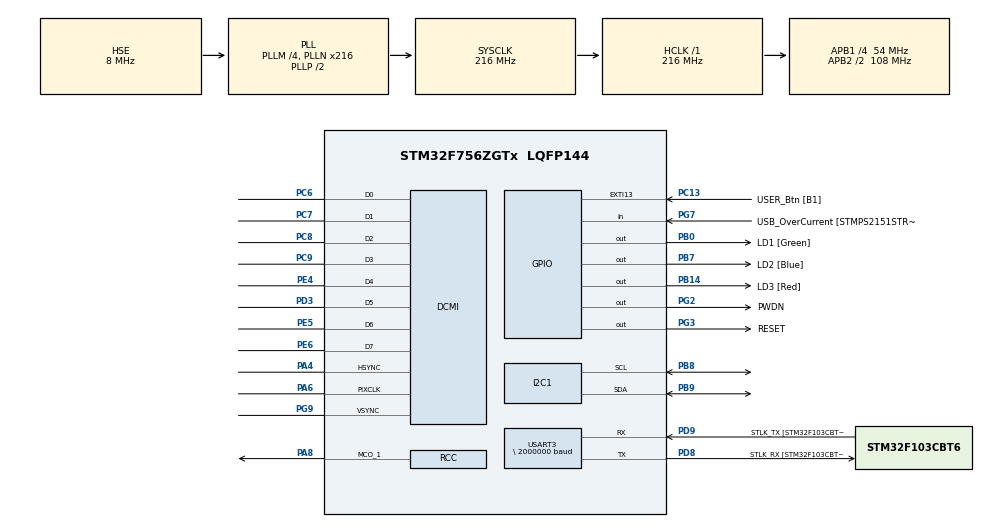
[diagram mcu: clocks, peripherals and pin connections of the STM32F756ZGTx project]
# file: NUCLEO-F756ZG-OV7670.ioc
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CORTEX_M7.default_mode_Activation=1
DCMI.HSPolarity=DCMI_HSPOLARITY_LOW
DCMI.JPEGMode=DCMI_JPEG_DISABLE
DCMI.PCKPolarity=DCMI_PCKPOLARITY_RISING
DCMI.VSPolarity=DCMI_VSPOLARITY_HIGH
Dma.DCMI.0.Direction=DMA_PERIPH_TO_MEMORY
Dma.DCMI.0.FIFOMode=DMA_FIFOMODE_ENABLE
Dma.DCMI.0.FIFOThreshold=DMA_FIFO_THRESHOLD_FULL
Dma.DCMI.0.Instance=DMA2_Stream1
Dma.DCMI.0.MemBurst=DMA_MBURST_SINGLE
Dma.DCMI.0.MemDataAlignment=DMA_MDATAALIGN_WORD
Dma.DCMI.0.MemInc=DMA_MINC_ENABLE
Dma.DCMI.0.Mode=DMA_NORMAL
Dma.DCMI.0.PeriphBurst=DMA_PBURST_SINGLE
Dma.DCMI.0.PeriphDataAlignment=DMA_PDATAALIGN_WORD
Dma.DCMI.0.PeriphInc=DMA_PINC_DISABLE
Dma.DCMI.0.Priority=DMA_PRIORITY_VERY_HIGH
Dma.Request0=DCMI
I2C1.Timing=0x20404768
Mcu.Family=STM32F7
Mcu.Name=STM32F756ZGTx
Mcu.Package=LQFP144
NVIC.DCMI_IRQn=true\:0\:0\:false\:false\:true\:true\:true\:true
NVIC.DMA2_Stream1_IRQn=true\:0\:0\:false\:false\:true\:false\:true\:true
NVIC.PriorityGroup=NVIC_PRIORITYGROUP_4
PA1.GPIO_Label=RMII_REF_CLK [LAN8742A-CZ-TR_REFCLK0]
PA1.Signal=ETH_REF_CLK
PA13.GPIO_Label=TMS
PA13.Mode=Serial_Wire
PA13.Signal=SYS_JTMS-SWDIO
PA14.GPIO_Label=TCK
PA14.Mode=Serial_Wire
PA14.Signal=SYS_JTCK-SWCLK
PA2.GPIO_Label=RMII_MDIO [LAN8742A-CZ-TR_MDIO]
PA2.Signal=ETH_MDIO
PA4.GPIO_PuPd=GPIO_NOPULL
PA4.GPIO_Speed=GPIO_SPEED_FREQ_VERY_HIGH
PA4.Mode=Slave_8_bits_External_Synchro
PA4.Signal=DCMI_HSYNC
PA6.GPIO_PuPd=GPIO_NOPULL
PA6.GPIO_Speed=GPIO_SPEED_FREQ_VERY_HIGH
PA6.Mode=Slave_8_bits_External_Synchro
PA6.Signal=DCMI_PIXCLK
PA7.GPIO_Label=RMII_CRS_DV [LAN8742A-CZ-TR_CRS_DV]
PA7.Signal=ETH_CRS_DV
PA8.GPIO_Speed=GPIO_SPEED_FREQ_VERY_HIGH
PA8.Mode=Clock-out-1
PA8.Signal=RCC_MCO_1
PB0.GPIO_Label=LD1 [Green]
PB0.Signal=GPIO_Output
PB13.GPIO_Label=RMII_TXD1 [LAN8742A-CZ-TR_TXD1]
PB13.Signal=ETH_TXD1
PB14.GPIO_Label=LD3 [Red]
PB14.Signal=GPIO_Output
PB3.GPIO_Label=SW0
PB3.Signal=SYS_JTDO-SWO
PB7.GPIO_Label=LD2 [Blue]
PB7.Signal=GPIO_Output
PB8.GPIO_Speed=GPIO_SPEED_FREQ_LOW
PB8.Mode=I2C
PB8.Signal=I2C1_SCL
PB9.GPIO_Speed=GPIO_SPEED_FREQ_LOW
PB9.Mode=I2C
PB9.Signal=I2C1_SDA
PC1.GPIO_Label=RMII_MDC [LAN8742A-CZ-TR_MDC]
PC1.Signal=ETH_MDC
PC13.GPIO_Label=USER_Btn [B1]
PC13.Signal=GPXTI13
PC14/OSC32_IN.Mode=LSE-External-Oscillator
PC14/OSC32_IN.Signal=RCC_OSC32_IN
PC15/OSC32_OUT.Mode=LSE-External-Oscillator
PC15/OSC32_OUT.Signal=RCC_OSC32_OUT
PC4.GPIO_Label=RMII_RXD0 [LAN8742A-CZ-TR_RXD0]
PC4.Signal=ETH_RXD0
PC5.GPIO_Label=RMII_RXD1 [LAN8742A-CZ-TR_RXD1]
PC5.Signal=ETH_RXD1
PC6.GPIO_PuPd=GPIO_NOPULL
PC6.GPIO_Speed=GPIO_SPEED_FREQ_VERY_HIGH
PC6.Mode=Slave_8_bits_External_Synchro
PC6.Signal=DCMI_D0
PC7.GPIO_PuPd=GPIO_NOPULL
PC7.GPIO_Speed=GPIO_SPEED_FREQ_VERY_HIGH
PC7.Mode=Slave_8_bits_External_Synchro
PC7.Signal=DCMI_D1
PC8.GPIO_PuPd=GPIO_NOPULL
PC8.GPIO_Speed=GPIO_SPEED_FREQ_VERY_HIGH
PC8.Mode=Slave_8_bits_External_Synchro
PC8.Signal=DCMI_D2
PC9.GPIO_PuPd=GPIO_NOPULL
PC9.GPIO_Speed=GPIO_SPEED_FREQ_VERY_HIGH
PC9.Mode=Slave_8_bits_External_Synchro
PC9.Signal=DCMI_D3
PD3.GPIO_PuPd=GPIO_NOPULL
PD3.GPIO_Speed=GPIO_SPEED_FREQ_VERY_HIGH
PD3.Mode=Slave_8_bits_External_Synchro
PD3.Signal=DCMI_D5
PD8.GPIO_Label=STLK_RX [STM32F103CBT6_PA3]
PD8.Mode=Asynchronous
PD8.Signal=USART3_TX
PD9.GPIO_Label=STLK_TX [STM32F103CBT6_PA2]
PD9.Mode=Asynchronous
PD9.Signal=USART3_RX
PE4.GPIO_PuPd=GPIO_NOPULL
PE4.GPIO_Speed=GPIO_SPEED_FREQ_VERY_HIGH
PE4.Mode=Slave_8_bits_External_Synchro
PE4.Signal=DCMI_D4
PE5.GPIO_PuPd=GPIO_NOPULL
PE5.GPIO_Speed=GPIO_SPEED_FREQ_VERY_HIGH
PE5.Mode=Slave_8_bits_External_Synchro
PE5.Signal=DCMI_D6
PE6.GPIO_PuPd=GPIO_NOPULL
PE6.GPIO_Speed=GPIO_SPEED_FREQ_VERY_HIGH
PE6.Mode=Slave_8_bits_External_Synchro
PE6.Signal=DCMI_D7
PG11.GPIO_Label=RMII_TX_EN [LAN8742A-CZ-TR_TXEN]
PG11.Signal=ETH_TX_EN
PG13.GPIO_Label=RMII_TXD0 [LAN8742A-CZ-TR_TXD0]
PG13.Signal=ETH_TXD0
PG2.GPIO_Label=PWDN
PG2.Signal=GPIO_Output
PG3.GPIO_Label=RESET
PG3.Signal=GPIO_Output
PG7.GPIO_Label=USB_OverCurrent [STMPS2151STR_FAULT]
PG7.Signal=GPIO_Input
PG9.GPIO_PuPd=GPIO_NOPULL
PG9.GPIO_Speed=GPIO_SPEED_FREQ_VERY_HIGH
PG9.Mode=Slave_8_bits_External_Synchro
PG9.Signal=DCMI_VSYNC
PH0/OSC_IN.GPIO_Label=MCO [STM32F103CBT6_PA8]
PH0/OSC_IN.Mode=HSE-External-Clock-Source
PH0/OSC_IN.Signal=RCC_OSC_IN
PH1/OSC_OUT.Mode=HSE-External-Clock-Source
PH1/OSC_OUT.Signal=RCC_OSC_OUT
ProjectManager.HeapSize=0x200
ProjectManager.StackSize=0x400
ProjectManager.TargetToolchain=STM32CubeIDE
RCC.48MHZClocksFreq_Value=24000000
RCC.AHBFreq_Value=216000000
RCC.APB1CLKDivider=RCC_HCLK_DIV4
RCC.APB1Freq_Value=54000000
RCC.APB1TimFreq_Value=108000000
RCC.APB2CLKDivider=RCC_HCLK_DIV2
RCC.APB2Freq_Value=108000000
RCC.APB2TimFreq_Value=216000000
RCC.CortexFreq_Value=216000000
RCC.HCLKFreq_Value=216000000
RCC.HSE_VALUE=8000000
RCC.HSI_VALUE=16000000
RCC.PLLM=4
RCC.PLLMUL=RCC_PLL_MUL9
RCC.PLLN=216
RCC.PLLQ=3
RCC.PLLSourceVirtual=RCC_PLLSOURCE_HSE
RCC.PRESCALERUSB=RCC_USBCLKSOURCE_PLL_DIV1_5
RCC.RCC_MCO2Source=RCC_MCO2SOURCE_PLLI2SCLK
RCC.RCC_MCODiv2=RCC_MCODIV_4
RCC.SYSCLKFreq_VALUE=216000000
RCC.SYSCLKSource=RCC_SYSCLKSOURCE_PLLCLK
RCC.SYSCLKSourceVirtual=RCC_SYSCLKSOURCE_PLLCLK
RCC.USBFreq_Value=144000000
RCC.VCOOutputFreq_Value=432000000
USART3.BaudRate=\ 2000000
USART3.VirtualMode-Asynchronous=VM_ASYNC
board=NUCLEO-F756ZG

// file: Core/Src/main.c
/* USER CODE BEGIN Header */
/**
 ******************************************************************************
 * @file           : main.c
 * @brief          : Main program body
 ******************************************************************************
 * @attention
 *
 * Copyright (c) 2026 STMicroelectronics.
 * All rights reserved.
 *
 * This software is licensed under terms that can be found in the LICENSE file
 * in the root directory of this software component.
 * If no LICENSE file comes with this software, it is provided AS-IS.
 *
 ******************************************************************************
 */
/* USER CODE END Header */
#include "main.h"
#include "dcmi.h"
#include "dma.h"
#include "i2c.h"
#include "usart.h"
#include "gpio.h"

/* USER CODE BEGIN Includes */
#include <stdio.h>
#include <stdarg.h>
#include <stdint.h>
/* USER CODE END Includes */

/* USER CODE BEGIN PTD */
/* Wynik jednego przechwycenia klatki. */
typedef struct {
	HAL_StatusTypeDef status;  /* HAL_OK = klatka zamknieta sygnalem VSYNC */
	uint32_t bytes;            /* bajty odebrane przez DMA                 */
	uint32_t vsyncs;           /* impulsy VSYNC w oknie przechwytywania    */
	uint32_t lines;            /* impulsy HREF (linie) w oknie             */
	uint32_t elapsed_ms;       /* czas od startu do konca/timeoutu         */
	uint32_t frame_period_ms;  /* odstep miedzy VSYNC (0 = nieznany)       */
	uint32_t stride;           /* bajty na linie (0 = klatka niepoprawna)  */
	uint32_t dcmi_sr;          /* rejestry DCMI/DMA z chwili zakonczenia   */
	uint32_t dcmi_cr;
	uint32_t dma_cr;
	uint32_t dma_fcr;
	uint32_t dcmi_err;
	uint32_t dma_err;
} capture_result_t;

/* Pin sprawdzany przez sonde ProbePins(). */
typedef struct {
	GPIO_TypeDef *port;
	uint16_t pin;
	const char *name;
} probe_pin_t;
/* USER CODE END PTD */

/* USER CODE BEGIN PD */
/* SCCB (I2C): adres 8-bitowy, 0x42 = zapis. */
#define OV7670_I2C_ADDR       0x42u
#define OV7670_REG_PID        0x0Au   /* oczekiwane 0x76 */
#define OV7670_REG_VER        0x0Bu   /* oczekiwane 0x73 */

/* Rozdzielczosc: 1 = QVGA 320x240, 0 = QQVGA 160x120. Format RGB565. */
#define OV7670_QVGA           1

#if OV7670_QVGA
#define OV7670_WIDTH          320u
#define OV7670_HEIGHT         240u
#else
#define OV7670_WIDTH          160u
#define OV7670_HEIGHT         120u
#endif
#define OV7670_LINE_BYTES     (OV7670_WIDTH * 2u)
#define OV7670_FRAME_BYTES    (OV7670_LINE_BYTES * OV7670_HEIGHT)

/* Bufor DMA ma zapas kilku linii. Koniec klatki wykrywa przerwanie FRAME
 * (VSYNC), a liczbe odebranych bajtow odczytujemy z licznika DMA. Dzieki
 * temu klatka o innej dlugosci niz oczekiwana nie blokuje odbioru, tylko
 * zostaje zgloszona.                                                       */
#define CAPTURE_BUF_BYTES     (OV7670_FRAME_BYTES + 16u * OV7670_LINE_BYTES)
#define CAPTURE_BUF_WORDS     (CAPTURE_BUF_BYTES / 4u)
#define CAPTURE_TIMEOUT_MS    2000u

/* Klatka jest poprawna, gdy sklada sie z HEIGHT rownych linii o dlugosci
 * z tego zakresu. Skaler kamery moze obciac kilka bajtow na linie
 * (np. 317 zamiast 320) - odbiornik dostaje rzeczywisty stride.          */
#define OV7670_MIN_LINE_BYTES (OV7670_LINE_BYTES * 3u / 4u)
#define OV7670_MAX_LINE_BYTES (CAPTURE_BUF_BYTES / OV7670_HEIGHT)

#define OV7670_WARMUP_FRAMES  10u     /* klatki na ustabilizowanie AEC/AWB */
#define TEST_COLOR_BAR        0       /* 1 = paski testowe zamiast obrazu  */

/* Kolory:
 *  - SATURATION_PCT skaluje macierz kolorow (100 = domyslna, max 111),
 *  - SATCTR (0xC9) [7:4] = dolny limit auto-nasycenia UV; 0xF = kamera
 *    nie wycisza kolorow w slabym swietle,
 *  - BRIGHTNESS (0x55): 0x00 neutralnie, 0x18 jasniej, 0x98 ciemniej,
 *  - CONTRAST (0x56): 0x40 neutralnie, wiecej = mocniejszy kontrast.       */
#define OV7670_SATURATION_PCT 110u
#define OV7670_BRIGHTNESS     0x00u
#define OV7670_CONTRAST       0x48u
#define OV7670_SATCTR         0xF0u

/* Naglowek ramki rozpoznawany przez odbiornik (Matlab/canny.m). */
#define FRAME_MAGIC_0         0xA5u
#define FRAME_MAGIC_1         0x5Au
/* USER CODE END PD */

/* USER CODE BEGIN PV */
static uint8_t frame_buffer[CAPTURE_BUF_BYTES] __attribute__((aligned(32)));

/* Flagi i liczniki ustawiane w przerwaniach DCMI. */
static volatile uint8_t frame_ready;
static volatile uint8_t capture_error;
static volatile uint32_t vsync_count;
static volatile uint32_t line_count;
static volatile uint32_t vsync_tick_first;
static volatile uint32_t vsync_tick_last;

extern DMA_HandleTypeDef hdma_dcmi; /* zdefiniowany w dcmi.c */

/* Linie interfejsu kamery (stan pinu jest widoczny w IDR takze w trybie AF). */
static const probe_pin_t probe_pins[] = {
	{ GPIOA, GPIO_PIN_8, "XCLK  PA8 " },
	{ GPIOA, GPIO_PIN_6, "PCLK  PA6 " },
	{ GPIOA, GPIO_PIN_4, "HREF  PA4 " },
	{ GPIOG, GPIO_PIN_9, "VSYNC PG9 " },
	{ GPIOC, GPIO_PIN_6, "D0    PC6 " },
	{ GPIOC, GPIO_PIN_7, "D1    PC7 " },
	{ GPIOC, GPIO_PIN_8, "D2    PC8 " },
	{ GPIOC, GPIO_PIN_9, "D3    PC9 " },
	{ GPIOE, GPIO_PIN_4, "D4    PE4 " },
	{ GPIOD, GPIO_PIN_3, "D5    PD3 " },
	{ GPIOE, GPIO_PIN_5, "D6    PE5 " },
	{ GPIOE, GPIO_PIN_6, "D7    PE6 " },
};
#define PROBE_PIN_COUNT (sizeof(probe_pins) / sizeof(probe_pins[0]))

/* Konfiguracja OV7670: RGB565, XCLK = 16 MHz (MCO1 = HSI), PCLK = XCLK/2.
 * Wartosci wg sterownika Linux (ov7670.c) i OmniVision Implementation
 * Guide; rejestry oznaczone jako "zarezerwowane" to sprawdzone stale.     */
static const uint8_t ov7670_regs[][2] = {
	/* zegar i format bazowy */
	{ 0x11, 0x01 }, /* CLKRC: PCLK = XCLK / 2   */
	{ 0x3A, 0x04 }, /* TSLB                     */
	{ 0x12, 0x04 }, /* COM7: RGB, baza VGA      */

	/* Okno sensora. W trybach skalowanych okno jest przesuniete w prawo,
	 * bo skaler DSP daje smieci w pierwszych kolumnach (Linux: +10 px dla
	 * QVGA). HSTART = hstart>>3, HSTOP = hstop>>3, HREF[5:3] = hstop&7,
	 * HREF[2:0] = hstart&7; VSTRT/VSTOP/VREF analogicznie (>>2, &3).      */
#if OV7670_QVGA
	{ 0x17, 0x15 }, /* HSTART: hstart = 168     */
	{ 0x18, 0x03 }, /* HSTOP:  hstop  = 24      */
	{ 0x32, 0x80 }, /* HREF                     */
	{ 0x19, 0x03 }, /* VSTRT:  vstart = 12      */
	{ 0x1A, 0x7B }, /* VSTOP:  vstop  = 492     */
	{ 0x03, 0x00 }, /* VREF                     */
#else
	{ 0x17, 0x16 }, /* HSTART: hstart = 180     */
	{ 0x18, 0x04 }, /* HSTOP:  hstop  = 36      */
	{ 0x32, 0xA4 }, /* HREF                     */
	{ 0x19, 0x02 }, /* VSTRT:  vstart = 10      */
	{ 0x1A, 0x7A }, /* VSTOP:  vstop  = 490     */
	{ 0x03, 0x0A }, /* VREF                     */
#endif
	{ 0x0C, 0x00 }, /* COM3                     */
	{ 0x3E, 0x00 }, /* COM14                    */
	{ 0x15, 0x00 }, /* COM10: VSYNC i HREF aktywne stanem wysokim,
	                 *        PCLK wolnobiezny (zgodne z dcmi.c)           */

	/* krzywa gamma */
	{ 0x7A, 0x20 }, { 0x7B, 0x10 }, { 0x7C, 0x1E }, { 0x7D, 0x35 },
	{ 0x7E, 0x5A }, { 0x7F, 0x69 }, { 0x80, 0x76 }, { 0x81, 0x80 },
	{ 0x82, 0x88 }, { 0x83, 0x8F }, { 0x84, 0x96 }, { 0x85, 0xA3 },
	{ 0x86, 0xAF }, { 0x87, 0xC4 }, { 0x88, 0xD7 }, { 0x89, 0xE8 },

	/* AGC / AEC */
	{ 0x13, 0xE0 }, /* COM8: automatyka wylaczona na czas konfiguracji */
	{ 0x00, 0x00 }, /* GAIN                     */
	{ 0x10, 0x00 }, /* AECH                     */
	{ 0x0D, 0x40 }, /* COM4:  okno AEC 1/4      */
	{ 0x42, 0x80 }, /* COM17: okno AEC 1/4      */
	{ 0x14, 0x18 }, /* COM9:  max wzmocnienie 4x */
	{ 0xA5, 0x05 }, { 0xAB, 0x07 },                 /* BD50MAX, BD60MAX */
	{ 0x24, 0x95 }, { 0x25, 0x33 }, { 0x26, 0xE3 }, /* AEW, AEB, VPT    */
	{ 0x9F, 0x78 }, { 0xA0, 0x68 }, { 0xA1, 0x03 }, { 0xA6, 0xD8 },
	{ 0xA7, 0xD8 }, { 0xA8, 0xF0 }, { 0xA9, 0x90 }, { 0xAA, 0x94 },
	{ 0x13, 0xE5 }, /* COM8: AEC wlaczone       */

	/* tor analogowy */
	{ 0x0E, 0x61 }, { 0x0F, 0x4B }, { 0x16, 0x02 }, { 0x1E, 0x07 },
	{ 0x21, 0x02 }, { 0x22, 0x91 }, { 0x29, 0x07 }, { 0x33, 0x0B },
	{ 0x35, 0x0B }, { 0x37, 0x1D }, { 0x38, 0x71 }, { 0x39, 0x2A },
	{ 0x3C, 0x78 }, { 0x4D, 0x40 }, { 0x4E, 0x20 }, { 0x69, 0x00 },
	{ 0x6B, 0x0A }, /* DBLV: PLL wylaczone      */
	{ 0x74, 0x10 }, { 0x8D, 0x4F }, { 0x8E, 0x00 }, { 0x8F, 0x00 },
	{ 0x90, 0x00 }, { 0x91, 0x00 }, { 0x96, 0x00 }, { 0x9A, 0x00 },
	{ 0xB0, 0x84 }, { 0xB1, 0x0C }, { 0xB2, 0x0E }, { 0xB3, 0x82 },
	{ 0xB8, 0x0A },

	/* AWB */
	{ 0x43, 0x0A }, { 0x44, 0xF0 }, { 0x45, 0x34 }, { 0x46, 0x58 },
	{ 0x47, 0x28 }, { 0x48, 0x3A }, { 0x59, 0x88 }, { 0x5A, 0x88 },
	{ 0x5B, 0x44 }, { 0x5C, 0x67 }, { 0x5D, 0x49 }, { 0x5E, 0x0E },
	{ 0x6C, 0x0A }, { 0x6D, 0x55 }, { 0x6E, 0x11 }, { 0x6F, 0x9F },
	{ 0x6A, 0x40 }, { 0x01, 0x40 }, { 0x02, 0x60 }, /* GGAIN, BLUE, RED */
	{ 0x13, 0xE7 }, /* COM8: AGC + AWB + AEC wlaczone */

	/* macierz kolorow, ostrosc, odszumianie */
	{ 0x4F, 0xB3 }, { 0x50, 0xB3 }, { 0x51, 0x00 }, { 0x52, 0x3D },
	{ 0x53, 0xA7 }, { 0x54, 0xE4 }, { 0x58, 0x9E },
	{ 0x41, 0x08 }, /* COM16                    */
	{ 0x3F, 0x00 }, /* EDGE                     */
	{ 0x75, 0x05 }, { 0x76, 0xE1 }, { 0x4C, 0x00 }, { 0x77, 0x01 },
	{ 0x3D, 0xC0 }, /* COM13: gamma + auto-nasycenie UV */
	{ 0x4B, 0x09 },
	{ 0xC9, OV7670_SATCTR },
	{ 0x41, 0x38 }, /* COM16: auto ostrosc i odszumianie */
	{ 0x56, 0x40 }, /* CONTRAS                  */
	{ 0x34, 0x11 },
	{ 0x3B, 0x12 }, /* COM11: auto 50/60 Hz     */
	{ 0xA4, 0x88 }, { 0x96, 0x00 }, { 0x97, 0x30 }, { 0x98, 0x20 },
	{ 0x99, 0x30 }, { 0x9A, 0x84 }, { 0x9B, 0x29 }, { 0x9C, 0x03 },
	{ 0x9D, 0x4C }, { 0x9E, 0x3F }, { 0x78, 0x04 },

	/* format wyjscia RGB565 */
	{ 0x12, 0x04 }, /* COM7:  RGB               */
	{ 0x8C, 0x00 }, /* RGB444 wylaczone         */
	{ 0x04, 0x00 }, /* COM1                     */
	{ 0x40, 0xD0 }, /* COM15: RGB565, pelny zakres */
	{ 0x14, 0x6A }, /* COM9:  limit AGC         */

	/* skalowanie DCW */
	{ 0x0C, 0x04 }, /* COM3: DCW wlaczone       */
	{ 0x70, 0x3A }, /* SCALING_XSC              */
	{ 0x71, 0x35 }, /* SCALING_YSC              */
	{ 0xA2, 0x02 }, /* SCALING_PCLK_DELAY       */
#if OV7670_QVGA
	{ 0x3E, 0x19 }, /* COM14: PCLK /2           */
	{ 0x72, 0x11 }, /* SCALING_DCWCTR: /2       */
	{ 0x73, 0xF1 }, /* SCALING_PCLK_DIV: /2     */
#else
	{ 0x3E, 0x1A }, /* COM14: PCLK /4           */
	{ 0x72, 0x22 }, /* SCALING_DCWCTR: /4       */
	{ 0x73, 0xF2 }, /* SCALING_PCLK_DIV: /4     */
#endif
};
#define OV7670_REGS_COUNT (sizeof(ov7670_regs) / sizeof(ov7670_regs[0]))

/* Rejestry sprawdzane odczytem po konfiguracji. */
static const uint8_t ov7670_verify[][2] = {
	{ 0x12, 0x04 }, /* COM7  */
	{ 0x40, 0xD0 }, /* COM15 */
	{ 0x15, 0x00 }, /* COM10 */
	{ 0x0C, 0x04 }, /* COM3  */
#if OV7670_QVGA
	{ 0x3E, 0x19 }, { 0x72, 0x11 }, { 0x73, 0xF1 },
#else
	{ 0x3E, 0x1A }, { 0x72, 0x22 }, { 0x73, 0xF2 },
#endif
};
#define OV7670_VERIFY_COUNT (sizeof(ov7670_verify) / sizeof(ov7670_verify[0]))

/* Macierz kolorow (rejestry 0x4F..0x54) dla nasycenia 100%. */
static const uint8_t ov7670_cmatrix_base[6] = { 0xB3, 0xB3, 0x00, 0x3D, 0xA7, 0xE4 };
/* USER CODE END PV */

void SystemClock_Config(void);
static void MPU_Config(void);
/* USER CODE BEGIN PFP */
static void LOG(const char *fmt, ...);

/* sterownik OV7670 */
static HAL_StatusTypeDef OV7670_WriteReg(uint8_t reg, uint8_t val);
static HAL_StatusTypeDef OV7670_ReadReg(uint8_t reg, uint8_t *val);
static void OV7670_HardReset(void);
static HAL_StatusTypeDef OV7670_Init(void);
static uint8_t OV7670_VerifyRegs(void);
static HAL_StatusTypeDef OV7670_SetColorBar(uint8_t enable) __attribute__((unused));
static HAL_StatusTypeDef OV7670_SetImageTuning(uint32_t sat_pct,
		uint8_t brightness, uint8_t contrast);

/* przechwytywanie i wysylka */
static void Camera_Capture(capture_result_t *r);
static void Camera_SnapshotState(capture_result_t *r);
static void Camera_ReportFailure(const capture_result_t *r);
static void Camera_Reinit(void);
static void SendFrame(uint32_t stride);

/* diagnostyka */
static void ProbePins(uint32_t duration_ms);
static void DumpBuffer(uint32_t len, uint32_t stride);
/* USER CODE END PFP */

int main(void)
{

  /* USER CODE BEGIN 1 */
	uint8_t pid = 0, ver = 0;
	uint32_t frame_count = 0, fail_count = 0, fail_streak = 0;
	capture_result_t cap;
  /* USER CODE END 1 */

  /* MPU Configuration--------------------------------------------------------*/
  MPU_Config();

  /* MCU Configuration--------------------------------------------------------*/

  /* Reset of all peripherals, Initializes the Flash interface and the Systick. */
  HAL_Init();

  /* Configure the system clock */
  SystemClock_Config();

  /* Initialize all configured peripherals */
  MX_GPIO_Init();
  MX_DMA_Init();
  MX_I2C1_Init();
  MX_USART3_UART_Init();
  MX_DCMI_Init();
  /* USER CODE BEGIN 2 */
	LOG("\r\n\r\n=== OV7670 - NUCLEO-F756ZG ===\r\n");
	LOG("Format    : %ux%u RGB565 (%u B/klatke)\r\n", OV7670_WIDTH,
			OV7670_HEIGHT, (unsigned) OV7670_FRAME_BYTES);

	/* Kamera potrzebuje XCLK juz w trakcie resetu - MCO biegnie od
	 * SystemClock_Config(). */
	HAL_Delay(50);
	OV7670_HardReset();

	if (OV7670_ReadReg(OV7670_REG_PID, &pid) != HAL_OK
			|| OV7670_ReadReg(OV7670_REG_VER, &ver) != HAL_OK) {
		LOG("[BLAD] Kamera nie odpowiada na SCCB (0x%02X). Sprawdz 3.3V, GND,\r\n"
			"       pull-upy na SDA/SCL, XCLK na PA8, PWDN/RESET#.\r\n",
				OV7670_I2C_ADDR);
		Error_Handler();
	}
	LOG("PID/VER   : 0x%02X / 0x%02X (oczekiwane 0x76 / 0x73)\r\n", pid, ver);

	if (OV7670_Init() != HAL_OK) {
		LOG("[BLAD] Zapis rejestrow nie powiodl sie.\r\n");
		Error_Handler();
	}
	if (OV7670_VerifyRegs()) {
		LOG("Rejestry  : OK\r\n");
	}
	OV7670_SetImageTuning(OV7670_SATURATION_PCT, OV7670_BRIGHTNESS, OV7670_CONTRAST);
	LOG("Obraz     : nasycenie %u%%, jasnosc 0x%02X, kontrast 0x%02X, SATCTR 0x%02X\r\n",
			(unsigned) OV7670_SATURATION_PCT, (unsigned) OV7670_BRIGHTNESS,
			(unsigned) OV7670_CONTRAST, (unsigned) OV7670_SATCTR);
#if TEST_COLOR_BAR
	OV7670_SetColorBar(1);
	LOG("Tryb      : PASKI TESTOWE\r\n");
#endif

	/* Sonda pinow: czy kamera w ogole wysyla sygnaly. */
	HAL_Delay(100);
	ProbePins(200);

	/* Rozgrzewka: odrzuc pierwsze klatki, az ustabilizuje sie ekspozycja
	 * i balans bieli. */
	for (uint32_t i = 0; i < OV7670_WARMUP_FRAMES; i++) {
		Camera_Capture(&cap);
		if (cap.status != HAL_OK || cap.stride == 0u) {
			break;
		}
	}
	LOG("Start przechwytywania...\r\n\r\n");
  /* USER CODE END 2 */

  /* Infinite loop */
  /* USER CODE BEGIN WHILE */
	while (1) {
		/* LD1 (zielona) miga przy kazdej klatce, LD3 (czerwona) = blad. */
		HAL_GPIO_TogglePin(LD1_GPIO_Port, LD1_Pin);
		Camera_Capture(&cap);

		if (cap.status != HAL_OK || cap.stride == 0u) {
			HAL_GPIO_WritePin(LD3_GPIO_Port, LD3_Pin, GPIO_PIN_SET);
			fail_count++;
			fail_streak++;
			Camera_ReportFailure(&cap);
			if ((fail_count % 10u) == 1u) {
				ProbePins(200);
			}
			/* Dwa bledy z rzedu: DCMI/DMA moglo utknac - reinicjalizacja. */
			if (fail_streak >= 2u) {
				Camera_Reinit();
				fail_streak = 0;
			}
			HAL_Delay(500);
			continue;
		}
		HAL_GPIO_WritePin(LD3_GPIO_Port, LD3_Pin, GPIO_PIN_RESET);
		fail_streak = 0;

		if (SCB->CCR & SCB_CCR_DC_Msk) {
			SCB_InvalidateDCache_by_Addr((uint32_t*) frame_buffer,
					(int32_t) cap.bytes);
		}

		frame_count++;
		if (frame_count == 1u || (frame_count % 50u) == 0u) {
			LOG("[OK] Klatka #%lu: %lu B = %u linii x %lu B (oczekiwano %u B/linie),"
				" okres klatki %lu ms\r\n", (unsigned long) frame_count,
					(unsigned long) cap.bytes, OV7670_HEIGHT,
					(unsigned long) cap.stride, (unsigned) OV7670_LINE_BYTES,
					(unsigned long) cap.frame_period_ms);
			if (frame_count == 1u) {
				DumpBuffer(cap.bytes, cap.stride);
			}
		}
		SendFrame(cap.stride);
    /* USER CODE END WHILE */

	}
}

void SystemClock_Config(void)
{
  RCC_OscInitTypeDef RCC_OscInitStruct = {0};
  RCC_ClkInitTypeDef RCC_ClkInitStruct = {0};

  /** Configure LSE Drive Capability
  */
  HAL_PWR_EnableBkUpAccess();

  /** Configure the main internal regulator output voltage
  */
  __HAL_RCC_PWR_CLK_ENABLE();
  __HAL_PWR_VOLTAGESCALING_CONFIG(PWR_REGULATOR_VOLTAGE_SCALE1);

  /** Initializes the RCC Oscillators according to the specified parameters
  * in the RCC_OscInitTypeDef structure.
  */
  RCC_OscInitStruct.OscillatorType = RCC_OSCILLATORTYPE_HSI|RCC_OSCILLATORTYPE_HSE;
  RCC_OscInitStruct.HSEState = RCC_HSE_BYPASS;
  RCC_OscInitStruct.HSIState = RCC_HSI_ON;
  RCC_OscInitStruct.HSICalibrationValue = RCC_HSICALIBRATION_DEFAULT;
  RCC_OscInitStruct.PLL.PLLState = RCC_PLL_ON;
  RCC_OscInitStruct.PLL.PLLSource = RCC_PLLSOURCE_HSE;
  RCC_OscInitStruct.PLL.PLLM = 4;
  RCC_OscInitStruct.PLL.PLLN = 216;
  RCC_OscInitStruct.PLL.PLLP = RCC_PLLP_DIV2;
  RCC_OscInitStruct.PLL.PLLQ = 3;
  if (HAL_RCC_OscConfig(&RCC_OscInitStruct) != HAL_OK)
  {
    Error_Handler();
  }

  /** Activate the Over-Drive mode
  */
  if (HAL_PWREx_EnableOverDrive() != HAL_OK)
  {
    Error_Handler();
  }

  /** Initializes the CPU, AHB and APB buses clocks
  */
  RCC_ClkInitStruct.ClockType = RCC_CLOCKTYPE_HCLK|RCC_CLOCKTYPE_SYSCLK
                              |RCC_CLOCKTYPE_PCLK1|RCC_CLOCKTYPE_PCLK2;
  RCC_ClkInitStruct.SYSCLKSource = RCC_SYSCLKSOURCE_PLLCLK;
  RCC_ClkInitStruct.AHBCLKDivider = RCC_SYSCLK_DIV1;
  RCC_ClkInitStruct.APB1CLKDivider = RCC_HCLK_DIV4;
  RCC_ClkInitStruct.APB2CLKDivider = RCC_HCLK_DIV2;

  if (HAL_RCC_ClockConfig(&RCC_ClkInitStruct, FLASH_LATENCY_7) != HAL_OK)
  {
    Error_Handler();
  }
  HAL_RCC_MCOConfig(RCC_MCO1, RCC_MCO1SOURCE_HSI, RCC_MCODIV_1);
}

/* USER CODE BEGIN 4 */
/* ==========================================================================
 * Log tekstowy przez UART3 (port wirtualny ST-LINK)
 * ========================================================================== */
static void LOG(const char *fmt, ...) {
	char buf[192];
	va_list args;
	int len;

	va_start(args, fmt);
	len = vsnprintf(buf, sizeof(buf), fmt, args);
	va_end(args);

	if (len > 0) {
		if ((size_t) len > sizeof(buf) - 1u) {
			len = (int) (sizeof(buf) - 1u);
		}
		HAL_UART_Transmit(&huart3, (uint8_t*) buf, (uint16_t) len, 200);
	}
}

/* ==========================================================================
 * Sterownik OV7670 (magistrala SCCB)
 *
 * Odczyt rejestru to dwie osobne transakcje ze STOP-em: zapis adresu,
 * potem odczyt bajtu. HAL_I2C_Mem_Read (repeated START) tu nie dziala.
 * ========================================================================== */
static HAL_StatusTypeDef OV7670_WriteReg(uint8_t reg, uint8_t val) {
	uint8_t buf[2] = { reg, val };
	HAL_StatusTypeDef st;

	st = HAL_I2C_Master_Transmit(&hi2c1, OV7670_I2C_ADDR, buf, 2, 100);
	HAL_Delay(1);
	return st;
}

static HAL_StatusTypeDef OV7670_ReadReg(uint8_t reg, uint8_t *val) {
	if (HAL_I2C_Master_Transmit(&hi2c1, OV7670_I2C_ADDR, &reg, 1, 100) != HAL_OK) {
		return HAL_ERROR;
	}
	HAL_Delay(1);
	return HAL_I2C_Master_Receive(&hi2c1, OV7670_I2C_ADDR, val, 1, 100);
}

/* Wyjscie z power-down i impuls na RESET#. */
static void OV7670_HardReset(void) {
	HAL_GPIO_WritePin(PWDN_GPIO_Port, PWDN_Pin, GPIO_PIN_RESET);
	HAL_Delay(10);
	HAL_GPIO_WritePin(RESET_GPIO_Port, RESET_Pin, GPIO_PIN_RESET);
	HAL_Delay(20);
	HAL_GPIO_WritePin(RESET_GPIO_Port, RESET_Pin, GPIO_PIN_SET);
	HAL_Delay(100);
}

/* Reset programowy i zapis calej tablicy rejestrow. */
static HAL_StatusTypeDef OV7670_Init(void) {
	if (OV7670_WriteReg(0x12, 0x80) != HAL_OK) {
		return HAL_ERROR;
	}
	HAL_Delay(100);

	for (uint32_t i = 0; i < OV7670_REGS_COUNT; i++) {
		if (OV7670_WriteReg(ov7670_regs[i][0], ov7670_regs[i][1]) != HAL_OK) {
			return HAL_ERROR;
		}
	}
	HAL_Delay(100);
	return HAL_OK;
}

/* Zwraca 1, gdy kluczowe rejestry maja oczekiwane wartosci. */
static uint8_t OV7670_VerifyRegs(void) {
	uint8_t ok = 1, val;

	for (uint32_t i = 0; i < OV7670_VERIFY_COUNT; i++) {
		if (OV7670_ReadReg(ov7670_verify[i][0], &val) != HAL_OK) {
			LOG("[BLAD] Rejestr 0x%02X: brak odpowiedzi SCCB\r\n",
					ov7670_verify[i][0]);
			ok = 0;
		} else if (val != ov7670_verify[i][1]) {
			LOG("[BLAD] Rejestr 0x%02X = 0x%02X, oczekiwano 0x%02X\r\n",
					ov7670_verify[i][0], val, ov7670_verify[i][1]);
			ok = 0;
		}
	}
	return ok;
}

/* Wbudowany wzorzec: 8 pionowych paskow kolorowych (YSC[7] = 1). */
static HAL_StatusTypeDef OV7670_SetColorBar(uint8_t enable) {
	uint8_t xsc, ysc;

	if (OV7670_ReadReg(0x70, &xsc) != HAL_OK || OV7670_ReadReg(0x71, &ysc) != HAL_OK) {
		return HAL_ERROR;
	}
	xsc &= (uint8_t) ~0x80u;
	ysc = enable ? (uint8_t) (ysc | 0x80u) : (uint8_t) (ysc & ~0x80u);

	if (OV7670_WriteReg(0x70, xsc) != HAL_OK) {
		return HAL_ERROR;
	}
	return OV7670_WriteReg(0x71, ysc);
}

/* Nasycenie (skalowanie macierzy kolorow), jasnosc i kontrast.
 * Limit 111%: najwiekszy wspolczynnik macierzy (0xE4) nie moze
 * przekroczyc 255, a wszystkie musza byc skalowane jednakowo.             */
static HAL_StatusTypeDef OV7670_SetImageTuning(uint32_t sat_pct,
		uint8_t brightness, uint8_t contrast) {
	if (sat_pct > 111u) {
		sat_pct = 111u;
	}
	for (uint32_t i = 0; i < 6u; i++) {
		uint32_t v = (uint32_t) ov7670_cmatrix_base[i] * sat_pct / 100u;
		if (OV7670_WriteReg((uint8_t) (0x4Fu + i), (uint8_t) v) != HAL_OK) {
			return HAL_ERROR;
		}
	}
	if (OV7670_WriteReg(0x55, brightness) != HAL_OK) {
		return HAL_ERROR;
	}
	return OV7670_WriteReg(0x56, contrast);
}

/* ==========================================================================
 * Przechwytywanie klatki: DCMI w trybie snapshot + DMA
 *
 * DMA jest uzbrajane na caly bufor, a koniec klatki wykrywa przerwanie
 * FRAME (VSYNC). Przerwania FRAME/OVR/ERR wlaczamy sami, bo HAL wlacza
 * FRAME dopiero po zakonczeniu transferu DMA, a OVR/ERR wylacza po
 * pierwszym snapshocie.
 * ========================================================================== */
static void Camera_Capture(capture_result_t *r) {
	uint32_t t0;

	frame_ready = 0;
	capture_error = 0;
	vsync_count = 0;
	line_count = 0;
	vsync_tick_first = 0;
	vsync_tick_last = 0;
	hdcmi.ErrorCode = HAL_DCMI_ERROR_NONE;
	hdma_dcmi.ErrorCode = HAL_DMA_ERROR_NONE;
	__HAL_DCMI_CLEAR_FLAG(&hdcmi, DCMI_FLAG_FRAMERI | DCMI_FLAG_OVRRI
			| DCMI_FLAG_ERRRI | DCMI_FLAG_VSYNCRI | DCMI_FLAG_LINERI);
	*r = (capture_result_t) { 0 };

	t0 = HAL_GetTick();
	r->status = HAL_DCMI_Start_DMA(&hdcmi, DCMI_MODE_SNAPSHOT,
			(uint32_t) frame_buffer, CAPTURE_BUF_WORDS);
	if (r->status != HAL_OK) {
		Camera_SnapshotState(r);
		return;
	}
	/* VSYNC i LINE sluza tylko do liczenia impulsow (diagnostyka). */
	__HAL_DCMI_ENABLE_IT(&hdcmi, DCMI_IT_FRAME | DCMI_IT_OVR | DCMI_IT_ERR
			| DCMI_IT_VSYNC | DCMI_IT_LINE);

	while (!frame_ready && !capture_error
			&& (HAL_GetTick() - t0) < CAPTURE_TIMEOUT_MS) {
	}

	/* Stan odczytujemy przed Stop(), ktory resetuje DMA i DCMI. */
	r->elapsed_ms = HAL_GetTick() - t0;
	r->bytes = (CAPTURE_BUF_WORDS - hdma_dcmi.Instance->NDTR) * 4u;
	r->vsyncs = vsync_count;
	r->lines = line_count;
	Camera_SnapshotState(r);
	HAL_DCMI_Stop(&hdcmi);

	if (vsync_count >= 2u) {
		r->frame_period_ms = (vsync_tick_last - vsync_tick_first)
				/ (vsync_count - 1u);
	}

	if (frame_ready) {
		r->status = HAL_OK;
		if (r->bytes >= OV7670_MIN_LINE_BYTES * OV7670_HEIGHT
				&& r->bytes <= OV7670_MAX_LINE_BYTES * OV7670_HEIGHT
				&& (r->bytes % OV7670_HEIGHT) == 0u) {
			r->stride = r->bytes / OV7670_HEIGHT;
		}
	} else if (capture_error) {
		r->status = HAL_ERROR;
	} else {
		r->status = HAL_TIMEOUT;
	}
}

static void Camera_SnapshotState(capture_result_t *r) {
	r->dcmi_sr = hdcmi.Instance->SR;
	r->dcmi_cr = hdcmi.Instance->CR;
	r->dma_cr = hdma_dcmi.Instance->CR;
	r->dma_fcr = hdma_dcmi.Instance->FCR;
	r->dcmi_err = hdcmi.ErrorCode;
	r->dma_err = hdma_dcmi.ErrorCode;
}

/* Pelna reinicjalizacja DCMI i DMA (HAL_DCMI_DeInit resetuje tez DMA). */
static void Camera_Reinit(void) {
	LOG("[INFO] Reinicjalizacja DCMI + DMA...\r\n");
	HAL_DCMI_DeInit(&hdcmi);
	MX_DCMI_Init();
}

/* Raport nieudanego przechwycenia z podpowiedzia, gdzie szukac przyczyny. */
static void Camera_ReportFailure(const capture_result_t *r) {
	unsigned hs = (r->dcmi_sr & DCMI_SR_HSYNC) ? 1u : 0u;
	unsigned vs = (r->dcmi_sr & DCMI_SR_VSYNC) ? 1u : 0u;
	unsigned fne = (r->dcmi_sr & DCMI_SR_FNE) ? 1u : 0u;

	LOG("[BLAD] status=%s  czas=%lu ms  bajty=%lu  VSYNC=%lu  linii=%lu"
		"  okres klatki=%lu ms  SR: HSYNC=%u VSYNC=%u FIFO=%u\r\n",
			(r->status == HAL_OK) ? "OK" :
			(r->status == HAL_TIMEOUT) ? "TIMEOUT" : "ERROR",
			(unsigned long) r->elapsed_ms, (unsigned long) r->bytes,
			(unsigned long) r->vsyncs, (unsigned long) r->lines,
			(unsigned long) r->frame_period_ms, hs, vs, fne);
	LOG("       DCMI CR=0x%04lX err=0x%02lX | DMA CR=0x%08lX FCR=0x%02lX err=0x%02lX"
		" | stan HAL: dcmi=%u dma=%u\r\n",
			(unsigned long) r->dcmi_cr, (unsigned long) r->dcmi_err,
			(unsigned long) r->dma_cr, (unsigned long) r->dma_fcr,
			(unsigned long) r->dma_err, (unsigned) hdcmi.State,
			(unsigned) hdma_dcmi.State);
	/* Licznik linii biegnie tez przed poczatkiem klatki, wiec linie na
	 * klatke liczymy z czestotliwosci HREF i okresu klatki. */
	if (r->frame_period_ms > 0u && r->elapsed_ms > 0u) {
		LOG("       -> HREF: %lu/s -> ok. %lu linii/klatke; bajty/%u linii = %lu\r\n",
				(unsigned long) (r->lines * 1000u / r->elapsed_ms),
				(unsigned long) (r->lines * r->frame_period_ms / r->elapsed_ms),
				OV7670_HEIGHT, (unsigned long) (r->bytes / OV7670_HEIGHT));
	}

	switch (r->status) {
	case HAL_OK:
		LOG("       Klatka zamknieta VSYNC-iem, ale %lu B nie sklada sie w %u\r\n"
			"       rownych linii po %lu..%lu B -> sprawdz COM14/0x72/0x73\r\n"
			"       (38400 = QQVGA, 153600 = QVGA, 614400 = VGA) albo HSPolarity.\r\n",
				(unsigned long) r->bytes, OV7670_HEIGHT,
				(unsigned long) OV7670_MIN_LINE_BYTES,
				(unsigned long) OV7670_MAX_LINE_BYTES);
		break;

	case HAL_TIMEOUT:
		if (r->vsyncs == 0u && r->lines == 0u && r->bytes == 0u) {
			LOG("       -> DCMI nie widzi niczego: sprawdz XCLK (PA8), zasilanie,\r\n"
				"          PWDN/RESET#, przewody PCLK/HREF/VSYNC (patrz sonda pinow).\r\n");
		} else if (r->vsyncs == 0u) {
			LOG("       -> sa linie/dane, ale zero VSYNC: przewod PG9 lub VSPolarity.\r\n");
		} else if (r->bytes == 0u) {
			LOG("       -> sa ramki, ale zero danych: sprawdz PCLK (PA6) i HREF (PA4).\r\n");
		} else {
			LOG("       -> dane i VSYNC sa, ale FRAME nie przyszedl - sprawdz\r\n"
				"          VSPolarity/HSPolarity w dcmi.c.\r\n");
		}
		break;

	default:
		if (r->dcmi_err & HAL_DCMI_ERROR_OVR) {
			LOG("       OVR: przepelnienie FIFO DCMI - kamera wyslala wiecej niz\r\n"
				"       %lu B bez VSYNC (bufor pelny) albo DMA nie nadaza.\r\n",
					(unsigned long) CAPTURE_BUF_BYTES);
		}
		if (r->dcmi_err & HAL_DCMI_ERROR_SYNC) {
			LOG("       SYNC: blad synchronizacji (polaryzacje).\r\n");
		}
		break;
	}

	if (r->bytes > 0u) {
		DumpBuffer(r->bytes, r->bytes / OV7670_HEIGHT);
	}
}

/* Przerwania DCMI. */
void HAL_DCMI_FrameEventCallback(DCMI_HandleTypeDef *phdcmi) {
	(void) phdcmi;
	frame_ready = 1;
}

void HAL_DCMI_ErrorCallback(DCMI_HandleTypeDef *phdcmi) {
	(void) phdcmi;
	capture_error = 1;
}

void HAL_DCMI_VsyncEventCallback(DCMI_HandleTypeDef *phdcmi) {
	(void) phdcmi;
	vsync_tick_last = HAL_GetTick();
	if (vsync_count == 0u) {
		vsync_tick_first = vsync_tick_last;
	}
	vsync_count++;
}

void HAL_DCMI_LineEventCallback(DCMI_HandleTypeDef *phdcmi) {
	(void) phdcmi;
	line_count++;
}

/* ==========================================================================
 * Diagnostyka
 * ========================================================================== */

/* Sonda pinow: przez duration_ms liczy zbocza narastajace i procent czasu
 * w stanie wysokim na kazdej linii kamery. Linia bez zboczy jest martwa
 * (przewod, zly pin, kamera w power-down).                                */
static void ProbePins(uint32_t duration_ms) {
	uint32_t edges[PROBE_PIN_COUNT] = { 0 };
	uint32_t highs[PROBE_PIN_COUNT] = { 0 };
	uint8_t prev[PROBE_PIN_COUNT];
	uint32_t samples = 0, t0;

	for (uint32_t i = 0; i < PROBE_PIN_COUNT; i++) {
		prev[i] = (probe_pins[i].port->IDR & probe_pins[i].pin) ? 1u : 0u;
	}
	t0 = HAL_GetTick();
	while ((HAL_GetTick() - t0) < duration_ms) {
		for (uint32_t i = 0; i < PROBE_PIN_COUNT; i++) {
			uint8_t v = (probe_pins[i].port->IDR & probe_pins[i].pin) ? 1u : 0u;
			highs[i] += v;
			edges[i] += (v && !prev[i]) ? 1u : 0u;
			prev[i] = v;
		}
		samples++;
	}

	LOG("---- Sonda pinow (%lu ms) ----\r\n", (unsigned long) duration_ms);
	for (uint32_t i = 0; i < PROBE_PIN_COUNT; i++) {
		uint32_t pct = samples ? (highs[i] * 100u / samples) : 0u;
		LOG("  %s zbocza=%-7lu wysoki=%3lu%%  %s\r\n", probe_pins[i].name,
				(unsigned long) edges[i], (unsigned long) pct,
				edges[i] ? "ok" : (pct ? "STALE 1 - martwa linia" : "STALE 0 - martwa linia"));
	}
	LOG("------------------------------\r\n");
}

static void DumpHex(const char *label, uint32_t from, uint32_t count) {
	char line[3 * 24 + 1];
	uint32_t n = 0;

	if (from + count > CAPTURE_BUF_BYTES) {
		count = CAPTURE_BUF_BYTES - from;
	}
	for (uint32_t i = 0; i < count && n + 3 < sizeof(line); i++) {
		n += (uint32_t) snprintf(line + n, sizeof(line) - n, "%02X ",
				frame_buffer[from + i]);
	}
	LOG("  %s [%5lu..]: %s\r\n", label, (unsigned long) from, line);
}

/* Zrzut poczatku bufora, okolic granicy pierwszej linii oraz udzialu
 * bajtow 0x00 i 0xFF (same zera = brak danych, same 0xFF = linie danych
 * niepodlaczone).                                                         */
static void DumpBuffer(uint32_t len, uint32_t stride) {
	uint32_t zeros = 0, ffs = 0;

	if (len > CAPTURE_BUF_BYTES) {
		len = CAPTURE_BUF_BYTES;
	}
	for (uint32_t i = 0; i < len; i++) {
		zeros += (frame_buffer[i] == 0x00u) ? 1u : 0u;
		ffs += (frame_buffer[i] == 0xFFu) ? 1u : 0u;
	}
	DumpHex("start      ", 0, 16);
	if (stride >= 8u && stride + 16u <= len) {
		DumpHex("granica L0 ", stride - 8u, 24);
	}
	if (OV7670_LINE_BYTES != stride && OV7670_LINE_BYTES + 16u <= len) {
		DumpHex("linia nom. ", OV7670_LINE_BYTES - 8u, 24);
	}
	LOG("  z %lu B: zer=%lu%%, 0xFF=%lu%%\r\n", (unsigned long) len,
			(unsigned long) (len ? zeros * 100u / len : 0u),
			(unsigned long) (len ? ffs * 100u / len : 0u));
}

/* ==========================================================================
 * Wysylka klatki przez UART
 *
 * Ramka: [A5 5A 'O' 'V'] [W lo,hi] [H lo,hi] [S lo,hi] [H*S bajtow RGB565]
 * W = piksele w linii, H = linie, S = stride (bajty na linie). Piksel:
 * starszy bajt pierwszy.
 * ========================================================================== */
static void SendFrame(uint32_t stride) {
	uint32_t width = stride / 2u;
	uint32_t total = stride * OV7670_HEIGHT;
	uint8_t hdr[10] = { FRAME_MAGIC_0, FRAME_MAGIC_1, 'O', 'V',
			(uint8_t) (width & 0xFFu), (uint8_t) (width >> 8),
			(uint8_t) (OV7670_HEIGHT & 0xFFu), (uint8_t) (OV7670_HEIGHT >> 8),
			(uint8_t) (stride & 0xFFu), (uint8_t) (stride >> 8) };

	HAL_UART_Transmit(&huart3, hdr, sizeof(hdr), 200);
	/* HAL_UART_Transmit przyjmuje rozmiar 16-bitowy - dane ida w kawalkach. */
	for (uint32_t off = 0; off < total; off += 32768u) {
		uint32_t n = total - off;
		if (n > 32768u) {
			n = 32768u;
		}
		HAL_UART_Transmit(&huart3, frame_buffer + off, (uint16_t) n, 2000);
	}
}
/* USER CODE END 4 */

 /* MPU Configuration */

void MPU_Config(void)
{
  MPU_Region_InitTypeDef MPU_InitStruct = {0};

  /* Disables the MPU */
  HAL_MPU_Disable();

  /** Initializes and configures the Region and the memory to be protected
  */
  MPU_InitStruct.Enable = MPU_REGION_ENABLE;
  MPU_InitStruct.Number = MPU_REGION_NUMBER0;
  MPU_InitStruct.BaseAddress = 0x0;
  MPU_InitStruct.Size = MPU_REGION_SIZE_4GB;
  MPU_InitStruct.SubRegionDisable = 0x87;
  MPU_InitStruct.TypeExtField = MPU_TEX_LEVEL0;
  MPU_InitStruct.AccessPermission = MPU_REGION_NO_ACCESS;
  MPU_InitStruct.DisableExec = MPU_INSTRUCTION_ACCESS_DISABLE;
  MPU_InitStruct.IsShareable = MPU_ACCESS_SHAREABLE;
  MPU_InitStruct.IsCacheable = MPU_ACCESS_NOT_CACHEABLE;
  MPU_InitStruct.IsBufferable = MPU_ACCESS_NOT_BUFFERABLE;

  HAL_MPU_ConfigRegion(&MPU_InitStruct);
  /* Enables the MPU */
  HAL_MPU_Enable(MPU_PRIVILEGED_DEFAULT);

}

void Error_Handler(void)
{
	__disable_irq();
	while (1) {
	}
}
